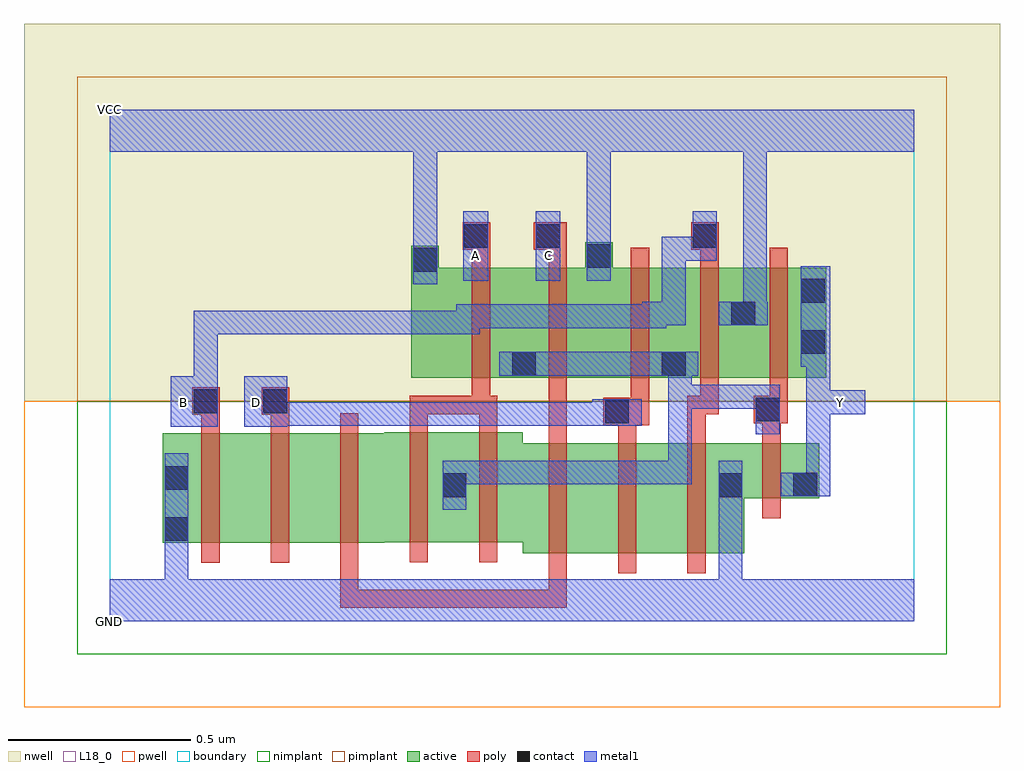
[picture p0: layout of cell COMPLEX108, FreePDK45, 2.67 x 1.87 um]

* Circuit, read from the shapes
.subckt COMPLEX108 A B C D GND VCC Y
M1 n1 B GND VSUBS nfet w=0.3u l=0.05u
M2 n2 D n1 VSUBS nfet w=0.3u l=0.05u
M3 n3 C n2 VSUBS nfet w=0.3u l=0.05u
M4 n4 A n3 VSUBS nfet w=0.3u l=0.05u
M5 n5 A n4 VSUBS nfet w=0.3u l=0.05u
M6 n6 C n5 VSUBS nfet w=0.3u l=0.05u
M7 n7 D n6 VSUBS nfet w=0.3u l=0.05u
M8 GND B n7 VSUBS nfet w=0.3u l=0.05u
M9 Y n4 GND VSUBS nfet w=0.15u l=0.05u
M10 n4 A VCC n8 pfet w=0.3u l=0.05u
M11 VCC C n4 n8 pfet w=0.3u l=0.05u
M12 n4 D VCC n8 pfet w=0.3u l=0.05u
M13 VCC B n4 n8 pfet w=0.3u l=0.05u
M14 Y n4 VCC n8 pfet w=0.3u l=0.05u
.ends

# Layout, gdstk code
import gdstk
lib = gdstk.Library(unit=1e-6, precision=1e-09)
def R(c, l, rs):  # rectangles x0, y0, x1, y1
    for r in rs: c.add(gdstk.rectangle(r[:2], r[2:], *l))
def A(c, l, x, y, w, h, nx, ny, dx, dy):  # array of equal rectangles
    R(c, l, [(x+i*dx, y+j*dy, x+i*dx+w, y+j*dy+h) for i in range(nx) for j in range(ny)])
active = (1, 0)
pwell = (2, 0)
nwell = (3, 0)
nimplant = (4, 0)
pimplant = (5, 0)
poly = (9, 0)
contact = (10, 0)
metal1 = (11, 0)
L18_0 = (18, 0)
boundary = (235, 0)

complex108 = lib.new_cell('COMPLEX108')
A(complex108, active, 1.505, 0.667, 0.075, 0.29, 3, 1, 0.19, 0)
R(complex108, active, [(1.13,0.187,1.32,0.487), (1.32,0.187,1.51,0.487), (1.51,0.187,1.735,0.487), (1.66,0.187,1.735,0.487), (0.145,0.215,0.22,0.515), (0.145,0.215,0.37,0.515), (0.37,0.215,0.56,0.515), (0.56,0.215,0.75,0.515), (0.75,0.217,0.98,0.517), (0.905,0.217,0.98,0.517), (0.905,0.217,1.13,0.517), (1.66,0.337,1.94,0.487), (1.865,0.337,1.94,0.487), (0.825,0.667,1.17,0.967), (0.825,0.667,0.9,1.027), (1.095,0.667,1.375,0.967), (1.095,0.667,1.17,0.777), (1.3,0.667,1.58,0.967), (1.505,0.667,1.77,0.967), (1.695,0.667,1.96,0.967), (1.3,0.832,1.375,1.037)])
R(complex108, pwell, [(-0.235,-0.235,2.435,0.602)])
R(complex108, nwell, [(-0.235,0.602,2.435,1.635)])
R(complex108, nimplant, [(-0.09,-0.09,2.29,0.602)])
R(complex108, pimplant, [(-0.09,0.602,2.29,1.49)])
A(complex108, poly, 1.2, 0.132, 0.05, 0.41, 3, 1, 0.19, 0)
A(complex108, poly, 0.25, 0.16, 0.05, 0.41, 3, 1, 0.19, 0)
A(complex108, poly, 1.425, 0.612, 0.05, 0.41, 3, 1, 0.19, 0)
R(complex108, poly, [(0.63,0.037,0.68,0.087), (0.63,0.037,0.68,0.087), (0.63,0.037,0.68,0.087), (0.63,0.037,0.882,0.087), (0.63,0.037,0.68,0.21), (0.832,0.037,0.882,0.087), (0.832,0.037,0.965,0.087), (0.915,0.037,0.965,0.087), (0.915,0.037,1.015,0.087), (0.965,0.037,1.015,0.087), (0.965,0.037,1.25,0.087), (1.2,0.037,1.25,0.087), (1.2,0.037,1.25,0.087), (1.2,0.037,1.25,0.087), (1.2,0.037,1.25,0.182), (0.82,0.162,0.87,0.572), (1.01,0.162,1.06,0.572), (1.785,0.282,1.835,0.542), (1.2,0.492,1.25,0.587), (1.39,0.492,1.44,0.587), (1.58,0.492,1.63,0.617), (1.785,0.492,1.835,0.592), (0.25,0.52,0.3,0.615), (0.44,0.52,0.49,0.615), (0.82,0.522,0.87,0.617), (1.01,0.522,1.06,0.617), (1.2,0.537,1.25,0.662), (1.2,0.537,1.25,0.587), (1.35,0.537,1.475,0.612), (1.762,0.542,1.855,0.617), (1.425,0.562,1.475,0.662), (0.225,0.565,0.3,0.64), (0.415,0.565,0.49,0.64), (0.82,0.567,0.87,0.617), (0.82,0.567,0.87,0.617), (0.82,0.567,0.87,0.617), (0.82,0.567,1.04,0.617), (0.99,0.567,1.04,0.662), (0.99,0.567,1.06,0.617), (1.58,0.567,1.665,0.617), (1.615,0.567,1.665,0.662), (1.805,0.567,1.855,0.662), (0.99,0.612,1.04,1.022), (1.2,0.612,1.25,1.022), (0.99,0.972,1.04,1.067), (1.2,0.972,1.25,1.067), (1.615,0.972,1.665,1.067), (0.965,1.017,1.04,1.092), (1.16,1.017,1.25,1.092), (1.59,1.017,1.665,1.092)])
R(complex108, contact, [(0.15,0.22,0.215,0.285), (0.91,0.34,0.975,0.405), (1.665,0.34,1.73,0.405), (1.87,0.342,1.935,0.407), (0.15,0.36,0.215,0.425), (1.355,0.542,1.42,0.607), (1.767,0.547,1.832,0.612), (0.23,0.57,0.295,0.635), (0.42,0.57,0.485,0.635), (1.1,0.672,1.165,0.737), (1.51,0.672,1.575,0.737), (1.89,0.732,1.955,0.797), (1.7,0.81,1.765,0.875), (1.89,0.872,1.955,0.937), (0.83,0.957,0.895,1.022), (1.305,0.967,1.37,1.032), (0.97,1.022,1.035,1.087), (1.165,1.022,1.23,1.087), (1.595,1.022,1.66,1.087)])
R(complex108, metal1, [(0,0,2.2,0.115), (0.15,0.05,0.215,0.25), (1.665,0.05,1.73,0.115), (1.665,0.05,1.73,0.115), (1.665,0.05,1.73,0.37), (0.15,0.185,0.215,0.25), (0.15,0.185,0.215,0.25), (0.15,0.185,0.215,0.46), (0.91,0.305,0.975,0.44), (1.665,0.305,1.73,0.44), (1.835,0.342,1.97,0.407), (1.905,0.342,1.97,0.632), (0.91,0.375,0.975,0.44), (0.91,0.375,0.975,0.44), (0.91,0.375,1.15,0.44), (1.085,0.375,1.15,0.44), (1.085,0.375,1.15,0.44), (1.085,0.375,1.15,0.44), (1.085,0.375,1.37,0.44), (1.305,0.375,1.37,0.44), (1.305,0.375,1.37,0.44), (1.305,0.375,1.37,0.44), (1.305,0.375,1.592,0.44), (1.527,0.375,1.592,0.44), (1.527,0.375,1.592,0.647), (1.767,0.512,1.832,0.647), (0.167,0.532,0.295,0.67), (0.367,0.532,0.485,0.67), (0.42,0.535,0.485,0.6), (0.42,0.535,0.485,0.6), (0.42,0.535,0.7,0.6), (0.635,0.535,0.7,0.6), (0.635,0.535,0.7,0.6), (0.635,0.535,0.7,0.6), (0.635,0.535,0.837,0.6), (0.772,0.535,0.837,0.6), (0.772,0.535,0.837,0.6), (0.772,0.535,0.837,0.6), (0.772,0.535,0.975,0.6), (0.91,0.535,0.975,0.6), (0.91,0.535,1.2,0.6), (1.135,0.535,1.2,0.6), (1.135,0.535,1.2,0.6), (1.135,0.535,1.2,0.6), (1.135,0.535,1.385,0.6), (1.32,0.535,1.385,0.6), (1.32,0.535,1.385,0.6), (1.32,0.535,1.455,0.607), (1.905,0.567,1.97,0.762), (1.905,0.567,2.067,0.632), (1.527,0.582,1.592,0.647), (1.527,0.582,1.66,0.647), (1.527,0.582,1.592,0.737), (1.595,0.582,1.66,0.647), (1.595,0.582,1.762,0.647), (1.697,0.582,1.832,0.647), (1.697,0.582,1.762,0.647), (0.23,0.605,0.295,0.67), (0.23,0.605,0.295,0.67), (0.23,0.605,0.295,0.85), (1.065,0.672,1.2,0.737), (1.135,0.672,1.2,0.737), (1.135,0.672,1.2,0.737), (1.135,0.672,1.37,0.737), (1.305,0.672,1.37,0.737), (1.305,0.672,1.477,0.737), (1.412,0.672,1.477,0.737), (1.412,0.672,1.54,0.737), (1.475,0.672,1.61,0.737), (1.89,0.697,1.97,0.972), (0.23,0.785,0.295,0.85), (0.23,0.785,0.485,0.85), (0.42,0.785,0.485,0.85), (0.42,0.785,0.485,0.85), (0.42,0.785,0.485,0.85), (0.42,0.785,0.622,0.85), (0.557,0.785,0.622,0.85), (0.557,0.785,0.622,0.85), (0.557,0.785,0.622,0.85), (0.557,0.785,0.837,0.85), (0.772,0.785,0.837,0.85), (0.772,0.785,0.837,0.85), (0.772,0.785,0.837,0.85), (0.772,0.785,0.837,0.85), (0.772,0.785,0.837,0.85), (0.772,0.785,1.012,0.85), (0.947,0.785,1.012,0.867), (0.947,0.802,1.15,0.867), (1.085,0.802,1.15,0.867), (1.085,0.802,1.15,0.867), (1.085,0.802,1.15,0.867), (1.085,0.802,1.37,0.867), (1.305,0.802,1.37,0.867), (1.305,0.802,1.522,0.867), (1.457,0.802,1.522,0.875), (1.457,0.81,1.575,0.875), (1.51,0.81,1.575,0.875), (1.51,0.81,1.575,0.875), (1.51,0.81,1.575,0.875), (1.51,0.81,1.575,1.052), (1.665,0.81,1.8,0.875), (1.732,0.81,1.797,1.35), (0.83,0.922,0.895,1.057), (0.967,0.932,1.035,1.122), (1.165,0.932,1.232,1.122), (1.305,0.932,1.37,1.067), (1.51,0.987,1.575,1.052), (1.51,0.987,1.66,1.052), (1.595,0.987,1.66,1.122), (0.83,0.992,0.895,1.35), (1.305,1.002,1.37,1.35), (0,1.285,2.2,1.4), (0.83,1.285,0.895,1.35), (0.83,1.285,0.895,1.35), (0.83,1.285,0.895,1.35), (0.83,1.285,0.895,1.35), (1.305,1.285,1.37,1.35), (1.305,1.285,1.37,1.35), (1.305,1.285,1.37,1.35), (1.305,1.285,1.37,1.35), (1.732,1.285,1.797,1.35), (1.732,1.285,1.797,1.35), (1.732,1.285,1.797,1.35), (1.732,1.285,1.797,1.35)])
R(complex108, L18_0, [(0,0,2.2,0.115), (0.15,0.05,0.215,0.25), (1.665,0.05,1.73,0.115), (1.665,0.05,1.73,0.115), (1.665,0.05,1.73,0.37), (0.15,0.185,0.215,0.25), (0.15,0.185,0.215,0.25), (0.15,0.185,0.215,0.46), (1.665,0.305,1.73,0.44), (1.835,0.342,1.97,0.407), (1.905,0.342,1.97,0.632), (0.167,0.532,0.295,0.67), (0.367,0.532,0.485,0.67), (0.42,0.535,0.485,0.6), (0.42,0.535,0.485,0.6), (0.42,0.535,0.7,0.6), (0.635,0.535,0.7,0.6), (0.635,0.535,0.7,0.6), (0.635,0.535,0.7,0.6), (0.635,0.535,0.837,0.6), (0.772,0.535,0.837,0.6), (0.772,0.535,0.837,0.6), (0.772,0.535,0.837,0.6), (0.772,0.535,0.975,0.6), (0.91,0.535,0.975,0.6), (0.91,0.535,1.2,0.6), (1.135,0.535,1.2,0.6), (1.135,0.535,1.2,0.6), (1.135,0.535,1.2,0.6), (1.135,0.535,1.385,0.6), (1.32,0.535,1.385,0.6), (1.32,0.535,1.385,0.6), (1.32,0.535,1.455,0.607), (0.167,0.567,0.232,0.632), (0.367,0.567,0.432,0.632), (1.905,0.567,2.067,0.632), (1.905,0.567,1.97,0.762), (1.967,0.567,2.032,0.632), (0.23,0.605,0.295,0.67), (0.23,0.605,0.295,0.67), (0.23,0.605,0.295,0.85), (1.89,0.697,1.97,0.972), (0.23,0.785,0.295,0.85), (0.23,0.785,0.485,0.85), (0.42,0.785,0.485,0.85), (0.42,0.785,0.485,0.85), (0.42,0.785,0.485,0.85), (0.42,0.785,0.622,0.85), (0.557,0.785,0.622,0.85), (0.557,0.785,0.622,0.85), (0.557,0.785,0.622,0.85), (0.557,0.785,0.837,0.85), (0.772,0.785,0.837,0.85), (0.772,0.785,0.837,0.85), (0.772,0.785,0.837,0.85), (0.772,0.785,0.837,0.85), (0.772,0.785,0.837,0.85), (0.772,0.785,1.012,0.85), (0.947,0.785,1.012,0.867), (0.947,0.802,1.15,0.867), (1.085,0.802,1.15,0.867), (1.085,0.802,1.15,0.867), (1.085,0.802,1.15,0.867), (1.085,0.802,1.37,0.867), (1.305,0.802,1.37,0.867), (1.305,0.802,1.522,0.867), (1.457,0.802,1.522,0.875), (1.457,0.81,1.575,0.875), (1.51,0.81,1.575,0.875), (1.51,0.81,1.575,0.875), (1.51,0.81,1.575,0.875), (1.51,0.81,1.575,1.052), (1.665,0.81,1.8,0.875), (1.732,0.81,1.797,1.35), (0.83,0.922,0.895,1.057), (0.967,0.932,1.035,1.122), (1.165,0.932,1.232,1.122), (1.305,0.932,1.37,1.067), (0.967,0.967,1.032,1.032), (1.167,0.967,1.232,1.032), (1.51,0.987,1.575,1.052), (1.51,0.987,1.66,1.052), (1.595,0.987,1.66,1.122), (0.83,0.992,0.895,1.35), (1.305,1.002,1.37,1.35), (0,1.285,2.2,1.4), (0.83,1.285,0.895,1.35), (0.83,1.285,0.895,1.35), (0.83,1.285,0.895,1.35), (0.83,1.285,0.895,1.35), (1.305,1.285,1.37,1.35), (1.305,1.285,1.37,1.35), (1.305,1.285,1.37,1.35), (1.305,1.285,1.37,1.35), (1.732,1.285,1.797,1.35), (1.732,1.285,1.797,1.35), (1.732,1.285,1.797,1.35), (1.732,1.285,1.797,1.35)])
R(complex108, boundary, [(0,0,2.2,1.4)])
complex108.add(gdstk.Label('A', (1,1), layer=11, texttype=0))
complex108.add(gdstk.Label('B', (0.2,0.6), layer=11, texttype=0))
complex108.add(gdstk.Label('C', (1.2,1), layer=11, texttype=0))
complex108.add(gdstk.Label('D', (0.4,0.6), layer=11, texttype=0))
complex108.add(gdstk.Label('Y', (2,0.6), layer=11, texttype=0))
complex108.add(gdstk.Label('VCC', (0,1.4), layer=11, texttype=0))
complex108.add(gdstk.Label('GND', (0,0), layer=11, texttype=0))

lib.write_gds('COMPLEX108.gds')
